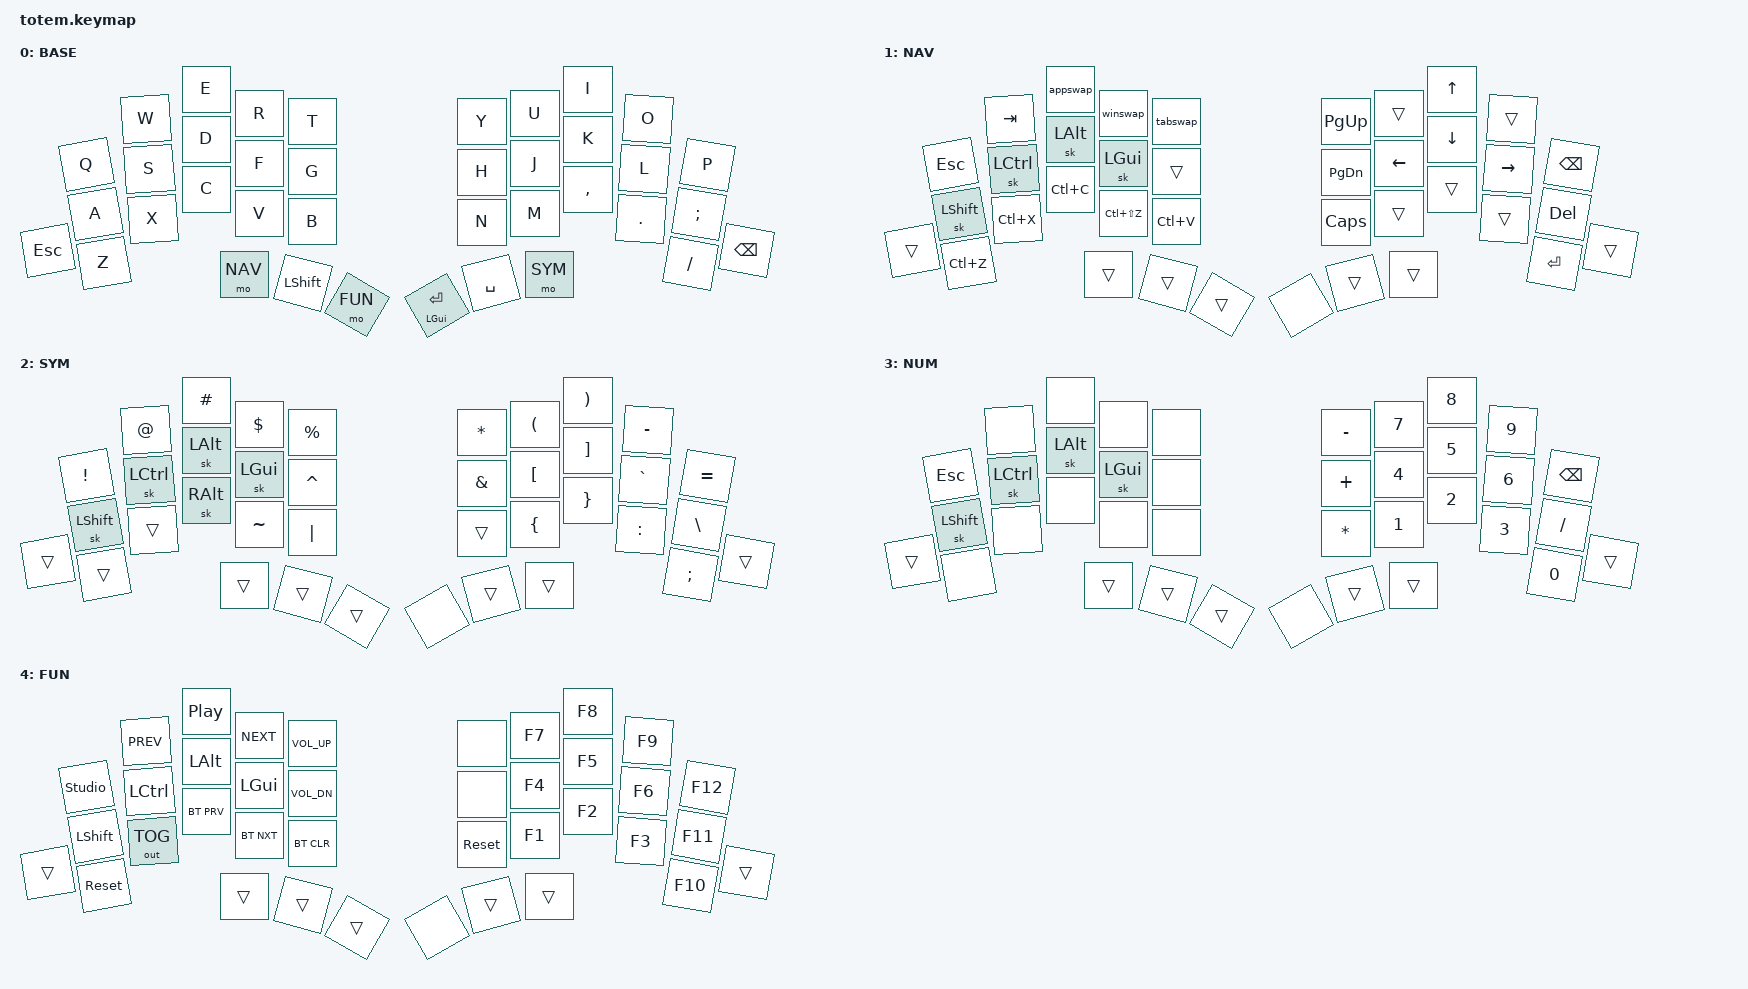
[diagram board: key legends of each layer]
#include <behaviors.dtsi>
#include <dt-bindings/zmk/bt.h>
#include <dt-bindings/zmk/keys.h>
#include <dt-bindings/zmk/outputs.h>

#define BASE 0
#define NAV  1
#define SYM  2
#define NUM  3
#define FUN  4

&sk {
    quick-release;
    release-after-ms = <1600>;
};

/ {
    combos {
        compatible = "zmk,combos";

        combo_CAPSWORD {
            key-positions = <21 22>;
            bindings = <&caps_word>;
            layers = <BASE>;
        };
    };
};

/ {
    conditional_layers {
        compatible = "zmk,conditional-layers";

        num_layer {
            if-layers = <NAV SYM>;
            then-layer = <NUM>;
        };
    };

    behaviors {
        appswap: appswap {
            compatible = "zmk,behavior-tri-state";
            #binding-cells = <0>;
            bindings = <&kt LGUI>, <&kp TAB>, <&kt LGUI>;
        };

        winswap: winswap {
            compatible = "zmk,behavior-tri-state";
            #binding-cells = <0>;
            bindings = <&kt LGUI>, <&kp GRAVE>, <&kt LGUI>;
        };

        tabswap: tabswap {
            compatible = "zmk,behavior-tri-state";
            #binding-cells = <0>;
            bindings = <&kt LCTRL>, <&kp TAB>, <&kt LCTRL>;
        };
        my_mt: my_mt {
            compatible = "zmk,behavior-hold-tap";
            #binding-cells = <2>;
            flavor = "hold-preferred";
            tapping-term-ms = <200>;
            display-name = "Mod-Tap";
            bindings = <&kp>, <&kp>;
        };
    };

    keymap {
        compatible = "zmk,keymap";

        // ▄▄▄▄▄▄▄▄▄▄▄▄▄▄▄▄▄▄▄▄▄▄▄▄▄▄▄▄▄▄▄▄▄▄▄▄▄▄▄▄▄▄▄▄▄▄▄▄▄▄▄▄▄▄▄▄▄▄▄▄▄▄▄▄▄▄▄▄▄▄▄▄▄▄▄▄▄▄▄▄▄▄▄▄▄▄▄▄▄▄▄▄▄▄▄▄▄▄▄▄▄▄▄▄▄▄▄▄▄▄▄▄▄▄▄▄▄▄▄▄▄▄▄▄▄▄▄▄▄▄▄▄▄▄▄▄▄▄▄▄▄▄▄▄▄▄▄▄▄

        BASE {
            display-name = "BASE";

            // ┏━━━━━━━━━━━━━━━━━━━━━━━━━━━━━━━━━━━━━━━┓
            // ┃          0 - Base                     ┃
            // ┗━━━━━━━━━━━━━━━━━━━━━━━━━━━━━━━━━━━━━━━┛
            //             ┏━━━━━━━━━━━┳━━━━━━━━━━━┳━━━━━━━━━━━┳━━━━━━━━━━━┳━━━━━━━━━━━┓   ┏━━━━━━━━━━━┳━━━━━━━━━━━┳━━━━━━━━━━━┳━━━━━━━━━━━┳━━━━━━━━━━━┓
            //             ┃     Q     ┃     W     ┃     E     ┃     R     ┃     T     ┃   ┃     Y     ┃     U     ┃     I     ┃     O     ┃     P     ┃
            //             ┣━━━━━━━━━━━╋━━━━━━━━━━━╋━━━━━━━━━━━╋━━━━━━━━━━━╋━━━━━━━━━━━┫   ┣━━━━━━━━━━━╋━━━━━━━━━━━╋━━━━━━━━━━━╋━━━━━━━━━━━╋━━━━━━━━━━━┫
            //             ┃     A     ┃     S     ┃     D     ┃     F     ┃     G     ┃   ┃     H     ┃     j     ┃     K     ┃     L     ┃     ;     ┃
            // ┏━━━━━━━━━━━╋━━━━━━━━━━━╋━━━━━━━━━━━╋━━━━━━━━━━━╋━━━━━━━━━━━╋━━━━━━━━━━━┫   ┣━━━━━━━━━━━╋━━━━━━━━━━━╋━━━━━━━━━━━╋━━━━━━━━━━━╋━━━━━━━━━━━╋━━━━━━━━━━━┓
            // ┃    ESC    ┃     Z     ┃     X     ┃     C     ┃     V     ┃     B     ┃   ┃     N     ┃     M     ┃     ,     ┃     .     ┃     /     ┃    BSPC   ┃
            // ┗━━━━━━━━━━━┻━━━━━━━━━━━┻━━━━━━━━━━━╋━━━━━━━━━━━╋━━━━━━━━━━━╋━━━━━━━━━━━┫   ┣━━━━━━━━━━━╋━━━━━━━━━━━╋━━━━━━━━━━━┫━━━━━━━━━━━┻━━━━━━━━━━━┻━━━━━━━━━━━┛
            //                                     ┃    NAV    ┃   SHIFT   ┃    FUN    ┃   ┃ GUI/ENTER ┃   SPACE   ┃    SYM    ┃
            //                                     ┗━━━━━━━━━━━┻━━━━━━━━━━━┻━━━━━━━━━━━┛   ┗━━━━━━━━━━━┻━━━━━━━━━━━┻━━━━━━━━━━━┛

            bindings = <
                              &kp Q        &kp W      &kp E        &kp R      &kp T            &kp Y      &kp U        &kp I       &kp O       &kp P
                              &kp A        &kp S      &kp D        &kp F      &kp G            &kp H      &kp J        &kp K       &kp L   &kp SEMICOLON
                 &kp ESC      &kp Z        &kp X      &kp C        &kp V      &kp B            &kp N      &kp M        &kp COMMA  &kp DOT     &kp FSLH    &kp BSPC
                                                     &mo NAV     &kp LSHFT   &mo FUN       &my_mt LGUI ENTER  &kp SPC      &mo SYM
                            >;
        };

        // ▄▄▄▄▄▄▄▄▄▄▄▄▄▄▄▄▄▄▄▄▄▄▄▄▄▄▄▄▄▄▄▄▄▄▄▄▄▄▄▄▄▄▄▄▄▄▄▄▄▄▄▄▄▄▄▄▄▄▄▄▄▄▄▄▄▄▄▄▄▄▄▄▄▄▄▄▄▄▄▄▄▄▄▄▄▄▄▄▄▄▄▄▄▄▄▄▄▄▄▄▄▄▄▄▄▄▄▄▄▄▄▄▄▄▄▄▄▄▄▄▄▄▄▄▄▄▄▄▄▄▄▄▄▄▄▄▄▄▄▄▄▄▄▄▄▄▄▄▄

        NAV {
            display-name = "NAV";

            // ┏━━━━━━━━━━━━━━━━━━━━━━━━━━━━━━━━━━━━━━━┓
            // ┃          1 - Navigation               ┃
            // ┗━━━━━━━━━━━━━━━━━━━━━━━━━━━━━━━━━━━━━━━┛
            //             ┏━━━━━━━━━━━┳━━━━━━━━━━━┳━━━━━━━━━━━┳━━━━━━━━━━━┳━━━━━━━━━━━┓   ┏━━━━━━━━━━━┳━━━━━━━━━━━┳━━━━━━━━━━━┳━━━━━━━━━━━┳━━━━━━━━━━━┓
            //             ┃    ESC    ┃    TAB    ┃  NXT_APP  ┃  NXT_WIN  ┃  NXT_TAB  ┃   ┃   PG_UP   ┃           ┃    UP     ┃           ┃   BSPC    ┃
            //             ┣━━━━━━━━━━━╋━━━━━━━━━━━╋━━━━━━━━━━━╋━━━━━━━━━━━╋━━━━━━━━━━━┫   ┣━━━━━━━━━━━╋━━━━━━━━━━━╋━━━━━━━━━━━╋━━━━━━━━━━━╋━━━━━━━━━━━┫
            //             ┃   SHIFT   ┃   CTRL    ┃    ALT    ┃    GUI    ┃           ┃   ┃   PG_DN   ┃   LEFT    ┃   DOWN    ┃   RIGHT   ┃    DEL    ┃
            // ┏━━━━━━━━━━━╋━━━━━━━━━━━╋━━━━━━━━━━━╋━━━━━━━━━━━╋━━━━━━━━━━━╋━━━━━━━━━━━┫   ┣━━━━━━━━━━━╋━━━━━━━━━━━╋━━━━━━━━━━━╋━━━━━━━━━━━╋━━━━━━━━━━━╋━━━━━━━━━━━┓
            // ┃    ESC    ┃    UNDO   ┃    CUT    ┃    COPY   ┃    REDO   ┃   PASTE   ┃   ┃   CAPS    ┃           ┃           ┃           ┃   ENTER   ┃    DEL    ┃
            // ┗━━━━━━━━━━━┻━━━━━━━━━━━┻━━━━━━━━━━━╋━━━━━━━━━━━╋━━━━━━━━━━━╋━━━━━━━━━━━┫   ┣━━━━━━━━━━━┣━━━━━━━━━━━╋━━━━━━━━━━━╋━━━━━━━━━━━┻━━━━━━━━━━━┻━━━━━━━━━━━┛
            //                                     ┃ █████████ ┃   SHIFT   ┃    FUN    ┃   ┃           ┃   SPACE   ┃    SYM    ┃
            //                                     ┗━━━━━━━━━━━┻━━━━━━━━━━━┻━━━━━━━━━━━┛   ┗━━━━━━━━━━━┗━━━━━━━━━━━┻━━━━━━━━━━━┛

            bindings = <
                            &kp ESC       &kp TAB    &appswap   &winswap     &tabswap       &kp PG_UP     &trans     &kp UP       &trans     &kp BSPC
                            &sk LSHFT     &sk LCTRL  &sk LALT   &sk LGUI      &trans        &kp PG_DN    &kp LEFT   &kp DOWN     &kp RIGHT  &kp DEL
                  &trans    &kp LC(Z)    &kp LC(X)   &kp LC(C)  &kp LC(LS(Z)) &kp LC(V)     &kp CAPS      &trans    &trans        &trans     &kp ENTER    &trans
                                                      &trans     &trans       &trans         &none        &trans    &trans
                            >;
        };

        // ▄▄▄▄▄▄▄▄▄▄▄▄▄▄▄▄▄▄▄▄▄▄▄▄▄▄▄▄▄▄▄▄▄▄▄▄▄▄▄▄▄▄▄▄▄▄▄▄▄▄▄▄▄▄▄▄▄▄▄▄▄▄▄▄▄▄▄▄▄▄▄▄▄▄▄▄▄▄▄▄▄▄▄▄▄▄▄▄▄▄▄▄▄▄▄▄▄▄▄▄▄▄▄▄▄▄▄▄▄▄▄▄▄▄▄▄▄▄▄▄▄▄▄▄▄▄▄▄▄▄▄▄▄▄▄▄▄▄▄▄▄▄▄▄▄▄▄▄▄

        SYM {
            display-name = "SYM";

            // ┏━━━━━━━━━━━━━━━━━━━━━━━━━━━━━━━━━━━━━━━┓
            // ┃           2 - Symbols                 ┃
            // ┗━━━━━━━━━━━━━━━━━━━━━━━━━━━━━━━━━━━━━━━┛
            //             ┏━━━━━━━━━━━┳━━━━━━━━━━━┳━━━━━━━━━━━┳━━━━━━━━━━━┳━━━━━━━━━━━┓   ┏━━━━━━━━━━━┳━━━━━━━━━━━┳━━━━━━━━━━━┳━━━━━━━━━━━┳━━━━━━━━━━━┓
            //             ┃     !     ┃     @     ┃     #     ┃     $     ┃     %     ┃   ┃     *     ┃     (     ┃     )     ┃     -     ┃     =     ┃
            //             ┣━━━━━━━━━━━╋━━━━━━━━━━━╋━━━━━━━━━━━╋━━━━━━━━━━━╋━━━━━━━━━━━┫   ┣━━━━━━━━━━━╋━━━━━━━━━━━╋━━━━━━━━━━━╋━━━━━━━━━━━╋━━━━━━━━━━━┫
            //             ┃   SHIFT   ┃   CTRL    ┃  LFT ALT  ┃    GUI    ┃     ^     ┃   ┃     &     ┃     [     ┃     ]     ┃     `     ┃     \     ┃
            // ┏━━━━━━━━━━━╋━━━━━━━━━━━╋━━━━━━━━━━━╋━━━━━━━━━━━╋━━━━━━━━━━━╋━━━━━━━━━━━┫   ┣━━━━━━━━━━━╋━━━━━━━━━━━╋━━━━━━━━━━━╋━━━━━━━━━━━╋━━━━━━━━━━━╋━━━━━━━━━━━┓
            // ┃    ESC    ┃           ┃           ┃  RGT ALT  ┃     ~     ┃     |     ┃   ┃           ┃     {     ┃     }     ┃      :    ┃     ;     ┃    BSPC   ┃
            // ┗━━━━━━━━━━━┻━━━━━━━━━━━┻━━━━━━━━━━━╋━━━━━━━━━━━╋━━━━━━━━━━━╋━━━━━━━━━━━┫   ┣━━━━━━━━━━━┣━━━━━━━━━━━╋━━━━━━━━━━━╋━━━━━━━━━━━┻━━━━━━━━━━━┻━━━━━━━━━━━┛
            //                                     ┃    NAV    ┃   SHIFT   ┃    FUN    ┃   ┃           ┃   SPACE   ┃ █████████ ┃
            //                                     ┗━━━━━━━━━━━┻━━━━━━━━━━━┻━━━━━━━━━━━┛   ┗━━━━━━━━━━━┗━━━━━━━━━━━┻━━━━━━━━━━━┛

            bindings = <
        &kp EXCL   &kp AT     &kp HASH  &kp DLLR   &kp PRCNT    &kp ASTRK  &kp LPAR  &kp RPAR  &kp MINUS  &kp EQUAL
        &sk LSHFT  &sk LCTRL  &sk LALT  &sk LGUI   &kp CARET    &kp AMPS   &kp LBKT  &kp RBKT  &kp GRAVE  &kp BSLH
&trans  &trans     &trans     &sk RALT   &kp TILDE  &kp PIPE     &trans     &kp LBRC  &kp RBRC  &kp COLON  &kp SEMI   &trans
                              &trans    &trans     &trans       &none      &trans    &trans
            >;
        };

        // ▄▄▄▄▄▄▄▄▄▄▄▄▄▄▄▄▄▄▄▄▄▄▄▄▄▄▄▄▄▄▄▄▄▄▄▄▄▄▄▄▄▄▄▄▄▄▄▄▄▄▄▄▄▄▄▄▄▄▄▄▄▄▄▄▄▄▄▄▄▄▄▄▄▄▄▄▄▄▄▄▄▄▄▄▄▄▄▄▄▄▄▄▄▄▄▄▄▄▄▄▄▄▄▄▄▄▄▄▄▄▄▄▄▄▄▄▄▄▄▄▄▄▄▄▄▄▄▄▄▄▄▄▄▄▄▄▄▄▄▄▄▄▄▄▄▄▄▄▄

        NUM {
            display-name = "NUM";

            // ┏━━━━━━━━━━━━━━━━━━━━━━━━━━━━━━━━━━━━━━━┓
            // ┃           3 - Numbers                 ┃
            // ┗━━━━━━━━━━━━━━━━━━━━━━━━━━━━━━━━━━━━━━━┛
            //             ┏━━━━━━━━━━━┳━━━━━━━━━━━┳━━━━━━━━━━━┳━━━━━━━━━━━┳━━━━━━━━━━━┓   ┏━━━━━━━━━━━┳━━━━━━━━━━━┳━━━━━━━━━━━┳━━━━━━━━━━━┳━━━━━━━━━━━┓
            //             ┃    ESC    ┃           ┃           ┃           ┃           ┃   ┃     -     ┃     7     ┃     8     ┃     9     ┃   BSPC    ┃
            //             ┣━━━━━━━━━━━╋━━━━━━━━━━━╋━━━━━━━━━━━╋━━━━━━━━━━━╋━━━━━━━━━━━┫   ┣━━━━━━━━━━━╋━━━━━━━━━━━╋━━━━━━━━━━━╋━━━━━━━━━━━╋━━━━━━━━━━━┫
            //             ┃   SHIFT   ┃   CTRL    ┃    ALT    ┃    GUI    ┃           ┃   ┃     +     ┃     4     ┃     5     ┃     6     ┃     /     ┃
            // ┏━━━━━━━━━━━╋━━━━━━━━━━━╋━━━━━━━━━━━╋━━━━━━━━━━━╋━━━━━━━━━━━╋━━━━━━━━━━━┫   ┣━━━━━━━━━━━╋━━━━━━━━━━━╋━━━━━━━━━━━╋━━━━━━━━━━━╋━━━━━━━━━━━╋━━━━━━━━━━━┓
            // ┃    ESC    ┃           ┃           ┃           ┃           ┃           ┃   ┃     *     ┃     1     ┃     2     ┃     3     ┃     0     ┃    BSPC   ┃
            // ┗━━━━━━━━━━━┻━━━━━━━━━━━┻━━━━━━━━━━━╋━━━━━━━━━━━╋━━━━━━━━━━━╋━━━━━━━━━━━┫   ┣━━━━━━━━━━━┣━━━━━━━━━━━╋━━━━━━━━━━━╋━━━━━━━━━━━┻━━━━━━━━━━━┻━━━━━━━━━━━┛
            //                                     ┃ █████████ ┃   SHIFT   ┃    FUN    ┃   ┃           ┃   SPACE   ┃ █████████ ┃
            //                                     ┗━━━━━━━━━━━┻━━━━━━━━━━━┻━━━━━━━━━━━┛   ┗━━━━━━━━━━━┗━━━━━━━━━━━┻━━━━━━━━━━━┛

            bindings = <
        &kp ESC    &none      &none     &none     &none     &kp MINUS  &kp N7  &kp N8  &kp N9  &kp BSPC
        &sk LSHFT  &sk LCTRL  &sk LALT  &sk LGUI  &none     &kp PLUS   &kp N4  &kp N5  &kp N6  &kp FSLH
&trans  &none      &none      &none     &none     &none     &kp ASTRK  &kp N1  &kp N2  &kp N3  &kp N0    &trans
                              &trans    &trans    &trans    &none      &trans  &trans
            >;
        };

        // ▄▄▄▄▄▄▄▄▄▄▄▄▄▄▄▄▄▄▄▄▄▄▄▄▄▄▄▄▄▄▄▄▄▄▄▄▄▄▄▄▄▄▄▄▄▄▄▄▄▄▄▄▄▄▄▄▄▄▄▄▄▄▄▄▄▄▄▄▄▄▄▄▄▄▄▄▄▄▄▄▄▄▄▄▄▄▄▄▄▄▄▄▄▄▄▄▄▄▄▄▄▄▄▄▄▄▄▄▄▄▄▄▄▄▄▄▄▄▄▄▄▄▄▄▄▄▄▄▄▄▄▄▄▄▄▄▄▄▄▄▄▄▄▄▄▄▄▄▄

        FUN {
            display-name = "FUN";

            // ┏━━━━━━━━━━━━━━━━━━━━━━━━━━━━━━━━━━━━━━━┓
            // ┃          4 - Function                 ┃
            // ┗━━━━━━━━━━━━━━━━━━━━━━━━━━━━━━━━━━━━━━━┛
            //             ┏━━━━━━━━━━━┳━━━━━━━━━━━┳━━━━━━━━━━━┳━━━━━━━━━━━┳━━━━━━━━━━━┓   ┏━━━━━━━━━━━┳━━━━━━━━━━━┳━━━━━━━━━━━┳━━━━━━━━━━━┳━━━━━━━━━━━┓
            //             ┃  UNLOCK   ┃   PREV    ┃   PLAY    ┃   NEXT    ┃  VOL_UP   ┃   ┃           ┃    F7     ┃    F8     ┃    F9     ┃    F12    ┃
            //             ┣━━━━━━━━━━━╋━━━━━━━━━━━╋━━━━━━━━━━━╋━━━━━━━━━━━╋━━━━━━━━━━━┫   ┣━━━━━━━━━━━╋━━━━━━━━━━━╋━━━━━━━━━━━╋━━━━━━━━━━━╋━━━━━━━━━━━┫
            //             ┃   SHIFT   ┃   CTRL    ┃    ALT    ┃    GUI    ┃  VOL_DN   ┃   ┃           ┃    F4     ┃    F5     ┃    F6     ┃    F11    ┃
            // ┏━━━━━━━━━━━╋━━━━━━━━━━━╋━━━━━━━━━━━╋━━━━━━━━━━━╋━━━━━━━━━━━╋━━━━━━━━━━━┫   ┣━━━━━━━━━━━╋━━━━━━━━━━━╋━━━━━━━━━━━╋━━━━━━━━━━━╋━━━━━━━━━━━╋━━━━━━━━━━━┓
            // ┃    ESC    ┃   RESET   ┃ USB | BLE ┃  BT PRV   ┃  BT NXT   ┃  BT CLR   ┃   ┃   RESET   ┃    F1     ┃    F2     ┃    F3     ┃    F10    ┃    BSPC   ┃
            // ┗━━━━━━━━━━━┻━━━━━━━━━━━┻━━━━━━━━━━━╋━━━━━━━━━━━╋━━━━━━━━━━━╋━━━━━━━━━━━┫   ┣━━━━━━━━━━━╋━━━━━━━━━━━╋━━━━━━━━━━━╋━━━━━━━━━━━┻━━━━━━━━━━━┻━━━━━━━━━━━┛
            //                                     ┃           ┃           ┃ █████████ ┃   ┃           ┃           ┃           ┃
            //                                     ┗━━━━━━━━━━━┻━━━━━━━━━━━┻━━━━━━━━━━━┛   ┗━━━━━━━━━━━┻━━━━━━━━━━━┻━━━━━━━━━━━┛

            bindings = <
        &studio_unlock  &kp C_PREV    &kp C_PP    &kp C_NEXT  &kp C_VOL_UP    &none       &kp F7  &kp F8  &kp F9  &kp F12
        &kp LSHFT       &kp LCTRL     &kp LALT    &kp LGUI    &kp C_VOL_DN    &none       &kp F4  &kp F5  &kp F6  &kp F11
&trans  &sys_reset      &out OUT_TOG  &bt BT_PRV  &bt BT_NXT  &bt BT_CLR      &sys_reset  &kp F1  &kp F2  &kp F3  &kp F10  &trans
                                      &trans      &trans      &trans          &none       &trans  &trans
            >;
        };

        // ▄▄▄▄▄▄▄▄▄▄▄▄▄▄▄▄▄▄▄▄▄▄▄▄▄▄▄▄▄▄▄▄▄▄▄▄▄▄▄▄▄▄▄▄▄▄▄▄▄▄▄▄▄▄▄▄▄▄▄▄▄▄▄▄▄▄▄▄▄▄▄▄▄▄▄▄▄▄▄▄▄▄▄▄▄▄▄▄▄▄▄▄▄▄▄▄▄▄▄▄▄▄▄▄▄▄▄▄▄▄▄▄▄▄▄▄▄▄▄▄▄▄▄▄▄▄▄▄▄▄▄▄▄▄▄▄▄▄▄▄▄▄▄▄▄▄▄▄▄
    };
};
